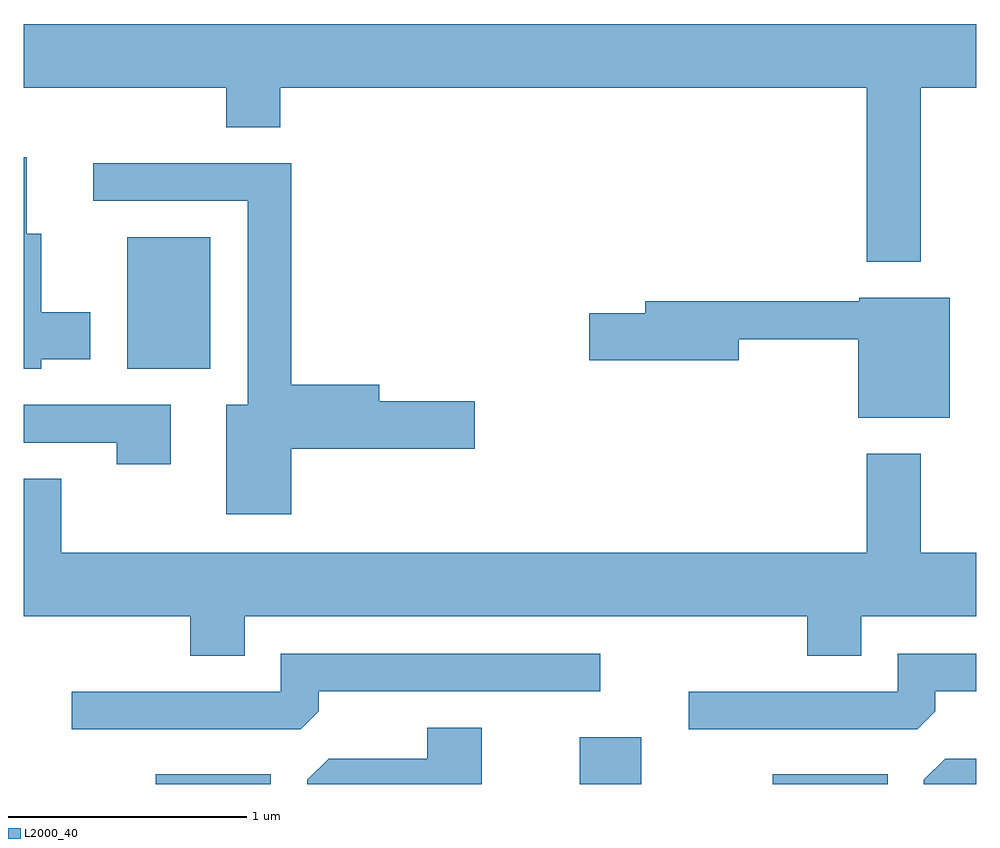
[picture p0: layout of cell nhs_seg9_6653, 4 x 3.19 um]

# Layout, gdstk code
import gdstk
lib = gdstk.Library(unit=1e-6, precision=1e-09)
def R(c, l, rs):  # rectangles x0, y0, x1, y1
    for r in rs: c.add(gdstk.rectangle(r[:2], r[2:], *l))
def P(c, l, *ps):  # polygons
    for p in ps: c.add(gdstk.Polygon(p, *l))
L2000_40 = (2000, 40)

nhs_seg9_6653 = lib.new_cell('nhs_seg9_6653')
R(nhs_seg9_6653, L2000_40, [(382.166,2004.432,382.649,2004.474), (383.946,2004.432,384.204,2004.629), (384.756,2004.432,385.239,2004.474), (382.046,2006.176,382.394,2006.729)])
P(nhs_seg9_6653, L2000_40, [(385.379,2007.356),(385.611,2007.356),(385.611,2007.624),(381.611,2007.624),(381.611,2007.356),(382.461,2007.356),(382.461,2007.191),(382.689,2007.191),(382.689,2007.356),(385.151,2007.356),(385.151,2006.626),(385.379,2006.626)],
  [(381.684,2006.216),(381.889,2006.216),(381.889,2006.414),(381.684,2006.414),(381.684,2006.744),(381.624,2006.744),(381.624,2007.064),(381.611,2007.064),(381.611,2006.176),(381.684,2006.176)],
  [(382.734,2005.841),(383.504,2005.841),(383.504,2006.039),(383.104,2006.039),(383.104,2006.109),(382.734,2006.109),(382.734,2007.039),(381.903,2007.039),(381.903,2006.881),(382.551,2006.881),(382.551,2006.024),(382.461,2006.024),(382.461,2005.566),(382.734,2005.566)],
  [(385.499,2006.474),(385.12,2006.474),(385.12,2006.459),(384.221,2006.459),(384.221,2006.409),(383.986,2006.409),(383.986,2006.211),(384.614,2006.211),(384.614,2006.301),(385.116,2006.301),(385.116,2005.971),(385.499,2005.971)],
  [(382.229,2006.024),(381.611,2006.024),(381.611,2005.866),(382.001,2005.866),(382.001,2005.776),(382.229,2005.776)],
  [(381.611,2005.714),(381.611,2005.136),(382.311,2005.136),(382.311,2004.971),(382.539,2004.971),(382.539,2005.136),(384.901,2005.136),(384.901,2004.971),(385.129,2004.971),(385.129,2005.136),(385.611,2005.136),(385.611,2005.404),(385.379,2005.404),(385.379,2005.819),(385.151,2005.819),(385.151,2005.404),(381.769,2005.404),(381.769,2005.714)],
  [(382.849,2004.737),(382.849,2004.821),(384.033,2004.821),(384.033,2004.979),(382.691,2004.979),(382.691,2004.819),(381.813,2004.819),(381.813,2004.661),(382.774,2004.661)],
  [(385.439,2004.737),(385.439,2004.821),(385.611,2004.821),(385.611,2004.979),(385.281,2004.979),(385.281,2004.819),(384.403,2004.819),(384.403,2004.661),(385.364,2004.661)],
  [(383.534,2004.669),(383.306,2004.669),(383.306,2004.539),(382.892,2004.539),(382.801,2004.449),(382.801,2004.432),(383.534,2004.432)],
  [(385.611,2004.539),(385.482,2004.539),(385.391,2004.449),(385.391,2004.432),(385.611,2004.432)])

lib.write_gds('nhs_seg9_6653.gds')
